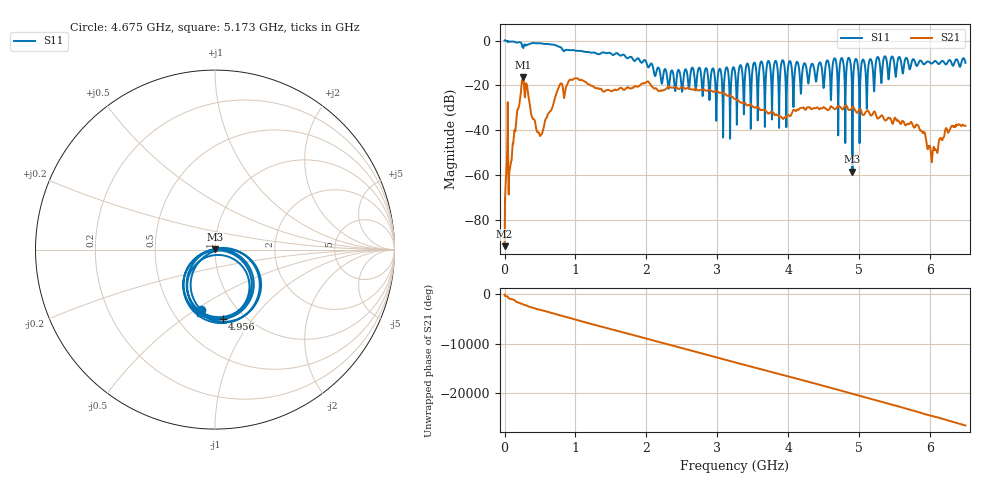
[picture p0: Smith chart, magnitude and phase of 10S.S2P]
!Keysight Technologies,E5063A,MY54503115,A.05.08
!Date: Mon Mar 04 16:08:41 2024
!Data & Calibration Information:
!Freq	S11:NONE(--)	S21:NONE(--)	S12:NONE(--)	S22:NONE(--)
# Hz S dB R 50
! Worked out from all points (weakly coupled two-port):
!   10001 points, 100 kHz to 6.5 GHz, reference 50 ohm
!   highest |S21| = -16.18 dB at 265.3 MHz (marker M1); lowest = -91.6 dB at 100 kHz (marker M2)
!   lowest |S11| = -58.4 dB at 4.907 GHz (marker M3), VSWR 1.00, Z = 50 + j0.115 ohm
!   |S11| at or under -10 dB: 2.002 GHz to 3.515 GHz (1.513 GHz wide, 54.9 % of centre); 3.53 GHz to 3.608 GHz (78.31 MHz wide, 2.19 % of centre); 4.138 GHz to 4.439 GHz (300.7 MHz wide, 7.01 % of centre) (the widest 3 of 28)
!   S12 and S22 are empty: the file has one direction only
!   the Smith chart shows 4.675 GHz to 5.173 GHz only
!   S11 on the Smith chart (normalised r, x): 4.675 GHz: 0.69, -0.53; 4.956 GHz: 0.79, -0.73; 5.173 GHz: 0.67, -0.55
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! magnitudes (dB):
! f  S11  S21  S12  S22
! 100 kHz  0.0  -91.6  -  -
! 40.4 MHz  -0.2  -43.2  -  -
! 84.6 MHz  -0.5  -55.2  -  -
! 265.3 MHz  -3.3  -16.2  -  -
! 501.2 MHz  -1.2  -42.5  -  -
! 778.8 MHz  -2.8  -19.7  -  -
! 1.084 GHz  -4.7  -17.5  -  -
! 2.167 GHz  -12.0  -22.3  -  -
! 3.25 GHz  -14.0  -25.9  -  -
! 3.934 GHz  -9.3  -34.8  -  -
! 3.975 GHz  -36.0  -33.8  -  -
! 4.334 GHz  -10.4  -30.6  -  -
! 4.675 GHz  -9.3  -30.2  -  -
! 4.857 GHz  -7.7  -30.9  -  -
! 4.907 GHz  -58.4  -29.6  -  -
! 4.956 GHz  -8.2  -31.7  -  -
! 5.006 GHz  -35.5  -30.5  -  -
! 5.173 GHz  -8.8  -33.4  -  -
! 5.417 GHz  -17.3  -34.3  -  -
! 5.825 GHz  -11.0  -37.6  -  -
! 6.041 GHz  -9.9  -49.3  -  -
! 6.5 GHz  -9.9  -38.0  -  -
